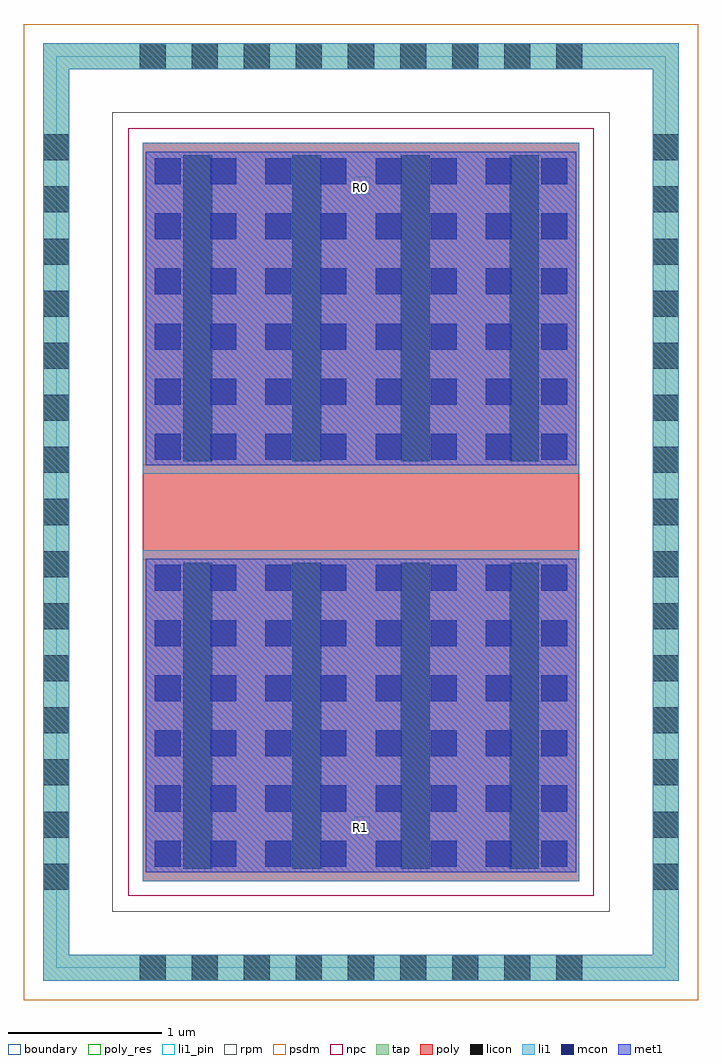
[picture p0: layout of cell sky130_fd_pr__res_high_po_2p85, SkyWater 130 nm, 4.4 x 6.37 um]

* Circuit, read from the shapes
.subckt sky130_fd_pr__res_high_po_2p85 R0 R1
XR1 R0 R1 VSUBS sky130_fd_pr__res_high_po w=2.85 l=0.5
.ends

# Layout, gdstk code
import gdstk
lib = gdstk.Library(unit=1e-6, precision=1e-09)
def R(c, l, rs):  # rectangles x0, y0, x1, y1
    for r in rs: c.add(gdstk.rectangle(r[:2], r[2:], *l))
def A(c, l, x, y, w, h, nx, ny, dx, dy):  # array of equal rectangles
    R(c, l, [(x+i*dx, y+j*dy, x+i*dx+w, y+j*dy+h) for i in range(nx) for j in range(ny)])
tap = (65, 44)
poly_res = (66, 13)
poly = (66, 20)
licon = (66, 44)
li1_pin = (67, 16)
li1 = (67, 20)
mcon = (67, 44)
met1 = (68, 20)
rpm = (86, 20)
psdm = (94, 20)
npc = (95, 20)
boundary = (235, 4)

sky130_fd_pr__res_high_p = lib.new_cell('sky130_fd_pr__res_high_po_2p85')
R(sky130_fd_pr__res_high_p, tap, [(-1.68,-1.68,2.47,-1.51), (-1.68,-1.51,-1.51,4.27), (2.3,-1.51,2.47,4.27), (-1.68,4.27,2.47,4.44)])
R(sky130_fd_pr__res_high_p, poly_res, [(-1.03,1.07,1.82,1.69)])
R(sky130_fd_pr__res_high_p, poly, [(-1.03,-1.03,1.82,3.79)])
A(sky130_fd_pr__res_high_p, licon, -1.05, -1.68, 0.17, 0.17, 9, 2, 0.34, 5.95)
A(sky130_fd_pr__res_high_p, licon, -1.68, -1.085, 0.17, 0.17, 1, 15, 0, 0.34)
A(sky130_fd_pr__res_high_p, licon, 2.3, -1.085, 0.17, 0.17, 1, 15, 0, 0.34)
A(sky130_fd_pr__res_high_p, licon, -0.765, -0.95, 0.19, 2, 4, 2, 0.71, 2.66)
R(sky130_fd_pr__res_high_p, li1_pin, [(0.351,-0.723,0.452,-0.608), (0.351,3.452,0.452,3.567)])
R(sky130_fd_pr__res_high_p, li1, [(-1.68,-1.68,2.47,-1.51), (-1.68,-1.51,-1.51,4.27), (2.3,-1.51,2.47,4.27), (-1.03,-1.03,1.82,1.13), (-1.03,1.63,1.82,3.79), (-1.68,4.27,2.47,4.44)])
A(sky130_fd_pr__res_high_p, mcon, -0.95, -0.935, 0.17, 0.17, 8, 6, 0.36, 0.36)
A(sky130_fd_pr__res_high_p, mcon, -0.95, 1.72, 0.17, 0.17, 8, 6, 0.36, 0.36)
R(sky130_fd_pr__res_high_p, met1, [(-1.01,-0.97,1.8,1.075), (-1.01,1.685,1.8,3.73)])
R(sky130_fd_pr__res_high_p, rpm, [(-1.23,-1.23,2.02,3.99)])
R(sky130_fd_pr__res_high_p, psdm, [(-1.805,-1.805,2.595,4.565)])
R(sky130_fd_pr__res_high_p, npc, [(-1.125,-1.125,1.915,3.885)])
R(sky130_fd_pr__res_high_p, boundary, [(-1.595,-1.595,2.385,4.355)])
sky130_fd_pr__res_high_p.add(gdstk.Label('R0', (0.392,3.498), layer=67, texttype=5))
sky130_fd_pr__res_high_p.add(gdstk.Label('R1', (0.392,-0.677), layer=67, texttype=5))

lib.write_gds('sky130_fd_pr__res_high_po_2p85.gds')
